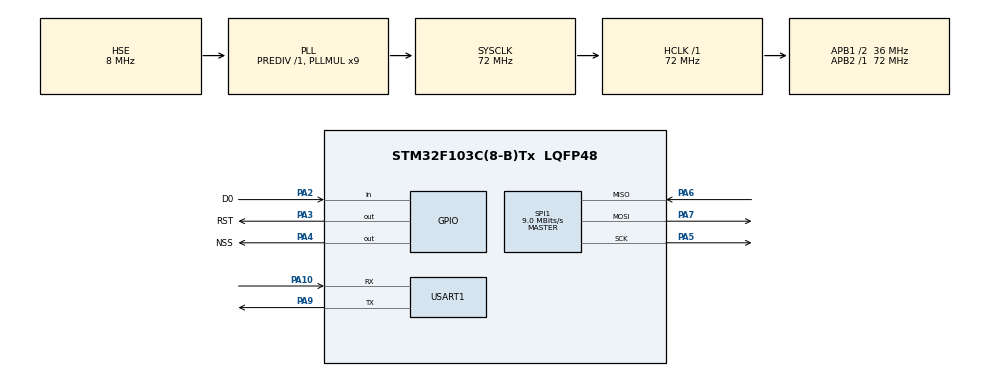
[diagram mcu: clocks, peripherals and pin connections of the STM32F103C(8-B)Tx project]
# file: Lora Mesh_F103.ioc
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Mcu.Family=STM32F1
Mcu.Name=STM32F103C(8-B)Tx
Mcu.Package=LQFP48
NVIC.PriorityGroup=NVIC_PRIORITYGROUP_4
PA10.Mode=Asynchronous
PA10.Signal=USART1_RX
PA2.GPIO_Label=D0
PA2.Signal=GPIO_Input
PA3.GPIO_Label=RST
PA3.Signal=GPIO_Output
PA4.GPIO_Label=NSS
PA4.Signal=GPIO_Output
PA5.Mode=Full_Duplex_Master
PA5.Signal=SPI1_SCK
PA6.Mode=Full_Duplex_Master
PA6.Signal=SPI1_MISO
PA7.Mode=Full_Duplex_Master
PA7.Signal=SPI1_MOSI
PA9.Mode=Asynchronous
PA9.Signal=USART1_TX
PD0-OSC_IN.Mode=HSE-External-Oscillator
PD0-OSC_IN.Signal=RCC_OSC_IN
PD1-OSC_OUT.Mode=HSE-External-Oscillator
PD1-OSC_OUT.Signal=RCC_OSC_OUT
ProjectManager.HeapSize=0x200
ProjectManager.StackSize=0x400
ProjectManager.TargetToolchain=STM32CubeIDE
RCC.AHBFreq_Value=72000000
RCC.APB1CLKDivider=RCC_HCLK_DIV2
RCC.APB1Freq_Value=36000000
RCC.APB1TimFreq_Value=72000000
RCC.APB2Freq_Value=72000000
RCC.APB2TimFreq_Value=72000000
RCC.HCLKFreq_Value=72000000
RCC.PLLMUL=RCC_PLL_MUL9
RCC.PLLSourceVirtual=RCC_PLLSOURCE_HSE
RCC.SYSCLKFreq_VALUE=72000000
RCC.SYSCLKSource=RCC_SYSCLKSOURCE_PLLCLK
RCC.USBFreq_Value=72000000
SPI1.BaudRatePrescaler=SPI_BAUDRATEPRESCALER_8
SPI1.CalculateBaudRate=9.0 MBits/s
SPI1.Direction=SPI_DIRECTION_2LINES
SPI1.Mode=SPI_MODE_MASTER
SPI1.VirtualType=VM_MASTER
USART1.VirtualMode=VM_ASYNC
board=custom

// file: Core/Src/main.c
/* USER CODE BEGIN Header */
/**
  ******************************************************************************
  * @file           : main.c
  * @brief          : Main program body
  ******************************************************************************
  * @attention
  *
  * Copyright (c) 2023 STMicroelectronics.
  * All rights reserved.
  *
  * This software is licensed under terms that can be found in the LICENSE file
  * in the root directory of this software component.
  * If no LICENSE file comes with this software, it is provided AS-IS.
  *
  ******************************************************************************
  */
/* USER CODE END Header */
#include "main.h"

/* USER CODE BEGIN Includes */

#include "Command_Line.h"
#include "Frame_Sync.h"
#include "button.h"
#include <string.h>
#include <stdio.h>
#include "SX1278.h"
#include "ring_buffer.h"

/* USER CODE END Includes */

SPI_HandleTypeDef hspi1;

UART_HandleTypeDef huart1;

void SystemClock_Config(void);
static void MX_GPIO_Init(void);
static void MX_SPI1_Init(void);
static void MX_USART1_UART_Init(void);

/* USER CODE BEGIN 0 */

PACKET_STRUCTURE command_buffer[10];
RING_BUFFER_HandleTypeDef ring_buffer;

//SX1278_hw_t hlora_hw = {{RST_Pin, RST_GPIO_Port}, {D0_Pin, D0_GPIO_Port}, {NSS_Pin, NSS_GPIO_Port}, &hspi1};
SX1278_hw_t hlora_hw;
SX1278_t hlora;
uint8_t LoRa_Rx_Buffer[255];
uint8_t num_rx_byte = 0;

uint8_t uart_rx_buf = 0;

BUTTON_HandleTypedef btn;
uint8_t tx_frame_data[255];
uint8_t tx_frame_len = 0;

void Push_Command_To_Ring_Buffer(uint8_t final_des_id, uint8_t temp_des_id, uint8_t time_to_live, uint8_t is_requiring_reply, uint8_t length, uint8_t buffer[])
{
	PACKET_STRUCTURE temp_data = {final_des_id, temp_des_id, FS_Data.my_id, time_to_live, length};
	for(int i = 0; i < length; i++)
	{
		temp_data.buffer[i] = buffer[i];
	}
	temp_data.is_requiring_reply = is_requiring_reply;
	RING_BUFFER_Push(&ring_buffer, temp_data);
}

void Command_Sending_Handle()
{
	if(RING_BUFFER_Available(&ring_buffer) && FRAME_SYNC_Is_Ready_Transmit())
	{
		PACKET_STRUCTURE temp_data;
		RING_BUFFER_Pop(&ring_buffer, &temp_data);
		FRAME_SYNC_Send_Frame(temp_data.final_des_id, temp_data.temp_des_id, temp_data.time_to_live, temp_data.buffer, temp_data.length, temp_data.is_requiring_reply);
	}
}

void FRAME_SYNC_RxCpltCallback(PACKET_STRUCTURE rx_packet)
{
#if MY_ID != 0
	static uint32_t counter = 0;
	if(rx_packet.buffer[0] == 0x02)
	{
		counter++;
		uint8_t temp_cmd[] = {rx_packet.buffer[0], FS_Data.my_id, counter};
		Push_Command_To_Ring_Buffer(0, FS_Data.my_id - 1, 7, 0, sizeof(temp_cmd), temp_cmd);
	}
#endif

	char tx_str[100] = {};
	sprintf(tx_str, "\nSource ID: %02X\nData: ", rx_packet.src_id);
	for(int i = 0; i < rx_packet.length; i++)
	{
		char temp_str[4];
		sprintf(temp_str, "%02X ", rx_packet.buffer[i]);
		strcat(tx_str, temp_str);
	}
	strcat(tx_str, "\nCRC Correct\n");
	HAL_UART_Transmit(&huart1, (uint8_t *)tx_str, strlen(tx_str), 1000);

}

void FRAME_SYNC_RxFailCallback(uint8_t *p_rx_data, uint8_t data_size)
{
	char tx_str[100] = "\nCRC Fail\n";
	HAL_UART_Transmit(&huart1, (uint8_t *)tx_str, strlen(tx_str), 1000);
}

void HAL_UART_RxCpltCallback(UART_HandleTypeDef *huart)
{
	if(huart->Instance == huart1.Instance)
	{
		COMMAND_LINE_Receive(uart_rx_buf);
		HAL_UART_Receive_IT(&huart1, &uart_rx_buf, 1);
	}
}

void FRAME_SYNC_Packet_Transmit(uint8_t* tx_buffer, uint8_t tx_buffer_length)
{
	SX1278_transmit(&hlora, tx_buffer, tx_buffer_length, 2000);
	SX1278_LoRaEntryRx(&hlora, 0, 2000);
}

void FRAME_SYNC_Packet_Receive()
{
  	if(hlora.status != RX)
  	{
  		SX1278_LoRaEntryRx(&hlora, 0, 2000);
  	}

	num_rx_byte = SX1278_LoRaRxPacket(&hlora);
	if(num_rx_byte > 0)
	{
		SX1278_read(&hlora, LoRa_Rx_Buffer, num_rx_byte);
		for(int i = 0; i < num_rx_byte; i++)
		{
			FRAME_SYNC_Receive(LoRa_Rx_Buffer[i]);
		}
	}
}

/* USER CODE END 0 */

int main(void)
{

  /* MCU Configuration--------------------------------------------------------*/

  /* Reset of all peripherals, Initializes the Flash interface and the Systick. */
  HAL_Init();

  /* Configure the system clock */
  SystemClock_Config();

  /* Initialize all configured peripherals */
  MX_GPIO_Init();
  MX_SPI1_Init();
  MX_USART1_UART_Init();
  /* USER CODE BEGIN 2 */

  hlora_hw.dio0.port = D0_GPIO_Port;
  hlora_hw.dio0.pin = D0_Pin;
  hlora_hw.nss.port = NSS_GPIO_Port;
  hlora_hw.nss.pin = NSS_Pin;
  hlora_hw.reset.port = RST_GPIO_Port;
  hlora_hw.reset.pin = RST_Pin;
  hlora_hw.spi = &hspi1;

  hlora.hw = &hlora_hw;
  SX1278_init(&hlora, 434000000, SX1278_POWER_20DBM, SX1278_LORA_SF_12,
		  SX1278_LORA_BW_500KHZ, SX1278_LORA_CR_4_8, SX1278_LORA_CRC_EN, 10);

  HAL_UART_Receive_IT(&huart1, &uart_rx_buf, 1);

  SX1278_LoRaEntryRx(&hlora, 0, 2000);

  RING_BUFFER_Init(&ring_buffer, command_buffer, 10);

//#if MY_ID == 0
////	  static uint32_t timer = 0;
////	  if(HAL_GetTick() - timer > 5000)
////	  {
//		  uint8_t temp_cmd[] = {0x02};
//		  Push_Command_To_Ring_Buffer(1, 1, 7, 1, sizeof(temp_cmd), temp_cmd);
////		  Push_Command_To_Ring_Buffer(2, 1, 7, 1, sizeof(temp_cmd), temp_cmd);
//		  Push_Command_To_Ring_Buffer(4, 1, 7, 0, sizeof(temp_cmd), temp_cmd);
////		  timer = HAL_GetTick();
////	  }
//#endif

  /* USER CODE END 2 */

  /* Infinite loop */
  while (1)
  {

    /* USER CODE BEGIN 3 */

#if MY_ID == 0
	  static uint32_t timer = 0;
	  if(HAL_GetTick() - timer > 30000)
	  {
		  uint8_t temp_cmd[] = {0x02};
		  Push_Command_To_Ring_Buffer(1, 1, 7, 1, sizeof(temp_cmd), temp_cmd);
		  Push_Command_To_Ring_Buffer(2, 1, 7, 1, sizeof(temp_cmd), temp_cmd);
		  Push_Command_To_Ring_Buffer(3, 1, 7, 1, sizeof(temp_cmd), temp_cmd);
		  Push_Command_To_Ring_Buffer(4, 1, 7, 0, sizeof(temp_cmd), temp_cmd);
		  timer = HAL_GetTick();
	  }
#endif

//	  BUTTON_Handle(&btn);

//	  COMMAND_LINE_Handle();

	  FRAME_SYNC_Handle();

	  Command_Sending_Handle();

  }
  /* USER CODE END 3 */
}

void SystemClock_Config(void)
{
  RCC_OscInitTypeDef RCC_OscInitStruct = {0};
  RCC_ClkInitTypeDef RCC_ClkInitStruct = {0};

  /** Initializes the RCC Oscillators according to the specified parameters
  * in the RCC_OscInitTypeDef structure.
  */
  RCC_OscInitStruct.OscillatorType = RCC_OSCILLATORTYPE_HSE;
  RCC_OscInitStruct.HSEState = RCC_HSE_ON;
  RCC_OscInitStruct.HSEPredivValue = RCC_HSE_PREDIV_DIV1;
  RCC_OscInitStruct.HSIState = RCC_HSI_ON;
  RCC_OscInitStruct.PLL.PLLState = RCC_PLL_ON;
  RCC_OscInitStruct.PLL.PLLSource = RCC_PLLSOURCE_HSE;
  RCC_OscInitStruct.PLL.PLLMUL = RCC_PLL_MUL9;
  if (HAL_RCC_OscConfig(&RCC_OscInitStruct) != HAL_OK)
  {
    Error_Handler();
  }

  /** Initializes the CPU, AHB and APB buses clocks
  */
  RCC_ClkInitStruct.ClockType = RCC_CLOCKTYPE_HCLK|RCC_CLOCKTYPE_SYSCLK
                              |RCC_CLOCKTYPE_PCLK1|RCC_CLOCKTYPE_PCLK2;
  RCC_ClkInitStruct.SYSCLKSource = RCC_SYSCLKSOURCE_PLLCLK;
  RCC_ClkInitStruct.AHBCLKDivider = RCC_SYSCLK_DIV1;
  RCC_ClkInitStruct.APB1CLKDivider = RCC_HCLK_DIV2;
  RCC_ClkInitStruct.APB2CLKDivider = RCC_HCLK_DIV1;

  if (HAL_RCC_ClockConfig(&RCC_ClkInitStruct, FLASH_LATENCY_2) != HAL_OK)
  {
    Error_Handler();
  }
}

static void MX_SPI1_Init(void)
{

  /* SPI1 parameter configuration*/
  hspi1.Instance = SPI1;
  hspi1.Init.Mode = SPI_MODE_MASTER;
  hspi1.Init.Direction = SPI_DIRECTION_2LINES;
  hspi1.Init.DataSize = SPI_DATASIZE_8BIT;
  hspi1.Init.CLKPolarity = SPI_POLARITY_LOW;
  hspi1.Init.CLKPhase = SPI_PHASE_1EDGE;
  hspi1.Init.NSS = SPI_NSS_SOFT;
  hspi1.Init.BaudRatePrescaler = SPI_BAUDRATEPRESCALER_8;
  hspi1.Init.FirstBit = SPI_FIRSTBIT_MSB;
  hspi1.Init.TIMode = SPI_TIMODE_DISABLE;
  hspi1.Init.CRCCalculation = SPI_CRCCALCULATION_DISABLE;
  hspi1.Init.CRCPolynomial = 10;
  if (HAL_SPI_Init(&hspi1) != HAL_OK)
  {
    Error_Handler();
  }

}

static void MX_USART1_UART_Init(void)
{

  huart1.Instance = USART1;
  huart1.Init.BaudRate = 115200;
  huart1.Init.WordLength = UART_WORDLENGTH_8B;
  huart1.Init.StopBits = UART_STOPBITS_1;
  huart1.Init.Parity = UART_PARITY_NONE;
  huart1.Init.Mode = UART_MODE_TX_RX;
  huart1.Init.HwFlowCtl = UART_HWCONTROL_NONE;
  huart1.Init.OverSampling = UART_OVERSAMPLING_16;
  if (HAL_UART_Init(&huart1) != HAL_OK)
  {
    Error_Handler();
  }

}

static void MX_GPIO_Init(void)
{
  GPIO_InitTypeDef GPIO_InitStruct = {0};

  /* GPIO Ports Clock Enable */
  __HAL_RCC_GPIOD_CLK_ENABLE();
  __HAL_RCC_GPIOA_CLK_ENABLE();

  /*Configure GPIO pin Output Level */
  HAL_GPIO_WritePin(GPIOA, RST_Pin|NSS_Pin, GPIO_PIN_RESET);

  /*Configure GPIO pin : D0_Pin */
  GPIO_InitStruct.Pin = D0_Pin;
  GPIO_InitStruct.Mode = GPIO_MODE_INPUT;
  GPIO_InitStruct.Pull = GPIO_NOPULL;
  HAL_GPIO_Init(D0_GPIO_Port, &GPIO_InitStruct);

  /*Configure GPIO pins : RST_Pin NSS_Pin */
  GPIO_InitStruct.Pin = RST_Pin|NSS_Pin;
  GPIO_InitStruct.Mode = GPIO_MODE_OUTPUT_PP;
  GPIO_InitStruct.Pull = GPIO_NOPULL;
  GPIO_InitStruct.Speed = GPIO_SPEED_FREQ_LOW;
  HAL_GPIO_Init(GPIOA, &GPIO_InitStruct);

}

void Error_Handler(void)
{
  __disable_irq();
  while (1)
  {
  }
}
